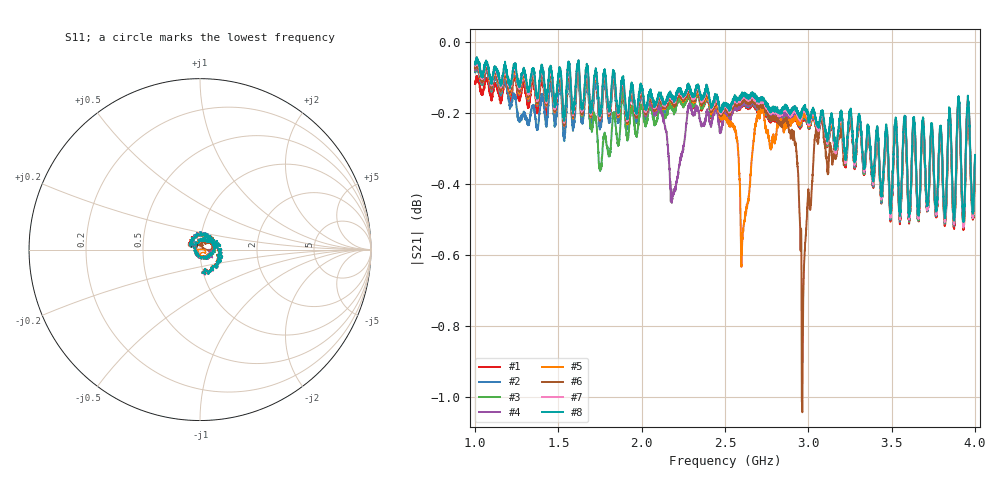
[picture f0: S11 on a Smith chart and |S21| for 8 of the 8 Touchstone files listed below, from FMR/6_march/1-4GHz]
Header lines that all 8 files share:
#  HZ  S  RI  R  50.0
! Rohde & Schwarz ZVL13 2Ports - Version 3.31 - 1303.6509k13 SN: 101088
! Data & Calibration Information:
! Trc4:S11(TOSM) Trc2:S21(TOSM) Trc3:S12(TOSM) Trc5:S22(TOSM)
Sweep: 1 GHz to 4 GHz
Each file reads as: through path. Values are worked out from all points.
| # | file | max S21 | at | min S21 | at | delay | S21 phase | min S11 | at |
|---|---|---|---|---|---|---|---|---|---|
| 1 | YIG_1-4GHz_0mT.s2p | -0.08 dB | 1.621 GHz | -0.5 dB | 3.93 GHz | 356 ps | 40 deg at 2.5 GHz | -32.7 dB | 2.616 GHz |
| 2 | YIG_1-4GHz_12mT.s2p | -0.07 dB | 1.009 GHz | -0.5 dB | 3.93 GHz | 357 ps | 40 deg at 2.5 GHz | -32.8 dB | 2.616 GHz |
| 3 | YIG_1-4GHz_20mT.s2p | -0.06 dB | 1.012 GHz | -0.5 dB | 3.93 GHz | 356 ps | 40 deg at 2.5 GHz | -32.6 dB | 2.616 GHz |
| 4 | YIG_1-4GHz_30mT.s2p | -0.06 dB | 1.012 GHz | -0.5 dB | 3.93 GHz | 356 ps | 40 deg at 2.5 GHz | -32.0 dB | 2.739 GHz |
| 5 | YIG_1-4GHz_40mT.s2p | -0.06 dB | 1.009 GHz | -0.6 dB | 2.599 GHz | 356 ps | 39 deg at 2.5 GHz | -54.5 dB | 2.59 GHz |
| 6 | YIG_1-4GHz_49mT.s2p | -0.06 dB | 1.012 GHz | -1.0 dB | 2.964 GHz | 356 ps | 40 deg at 2.5 GHz | -35.6 dB | 2.992 GHz |
| 7 | YIG_1-4GHz_97mT.s2p | -0.05 dB | 1.009 GHz | -0.5 dB | 3.93 GHz | 357 ps | 40 deg at 2.5 GHz | -33.3 dB | 2.616 GHz |
| 8 | YIG_1-4GHz_201mT.s2p | -0.04 dB | 1.012 GHz | -0.5 dB | 3.93 GHz | 357 ps | 40 deg at 2.5 GHz | -33.1 dB | 2.616 GHz |
